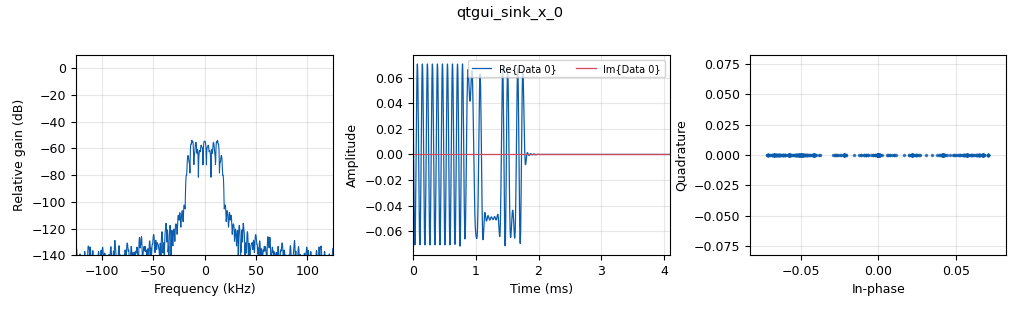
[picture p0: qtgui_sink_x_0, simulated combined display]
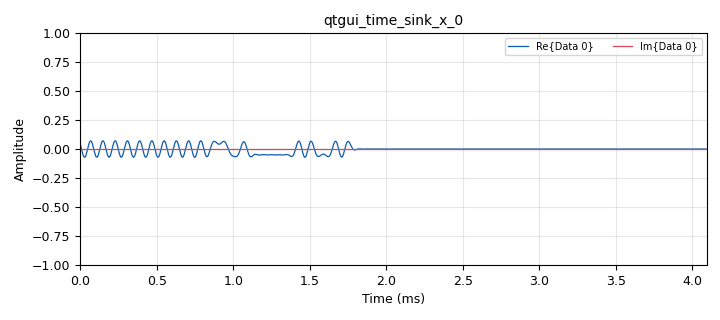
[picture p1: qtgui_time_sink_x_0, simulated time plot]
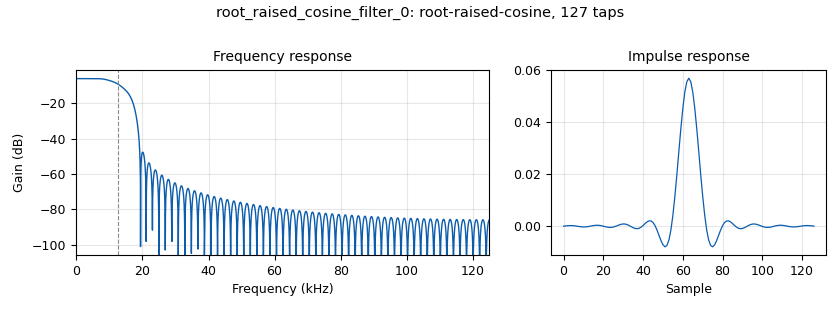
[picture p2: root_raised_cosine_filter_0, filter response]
options:
  parameters:
    generate_options: qt_gui
    id: USRP_TX
    output_language: python
    title: USRP TX
  states: {}

blocks:
- name: carrier_freq
  id: variable_qtgui_range
  parameters:
    label: Carrier Frequency
    start: 905e6
    step: 1e4
    stop: 930e6
    value: 915e6
  states: {}
- name: gain
  id: variable_qtgui_range
  parameters:
    label: TX Gain
    rangeType: int
    start: '0'
    step: '1'
    stop: '76'
    value: '50'
  states: {}
- name: rrc_ntaps
  id: variable
  parameters:
    value: 2**7-1
  states: {}
- name: samp_rate
  id: variable
  parameters:
    value: int(500e3/2)
  states: {}
- name: sps
  id: variable
  parameters:
    value: '10'
  states: {}
- name: tx_device_addr
  id: variable
  parameters:
    value: '"serial=31909E4"'
  states: {state: disabled}
- name: tx_device_addr
  id: variable
  parameters:
    value: '"serial=30BC4A2"'
  states: {state: disabled}
- name: tx_device_addr
  id: variable
  parameters:
    value: '"serial=30F5982"'
  states: {}
- name: blocks_file_sink_0
  id: blocks_file_sink
  parameters:
    file: /home/user/Documents/locchanan-senior/BPSK/tx_modulated.iq
    type: complex
    unbuffered: 'True'
  states: {state: disabled}
- name: blocks_file_sink_1
  id: blocks_file_sink
  parameters:
    file: tx_bytes
    type: complex
  states: {state: disabled}
- name: blocks_message_debug_0
  id: blocks_message_debug
  parameters: {}
  states: {}
- name: blocks_message_strobe_0
  id: blocks_message_strobe
  parameters:
    msg: pmt.intern("TEST")
    period: '2000'
  states: {}
- name: blocks_repeat_0
  id: blocks_repeat
  parameters:
    interp: sps
    type: byte
  states: {state: disabled}
- name: blocks_tag_debug_0
  id: blocks_tag_debug
  parameters:
    filter: '"tx_pkt_len"'
    name: Debug
    type: complex
  states: {}
- name: blocks_tagged_stream_multiply_length_0
  id: blocks_tagged_stream_multiply_length
  parameters:
    c: sps
    lengthtagname: '"tx_pkt_len"'
    type: complex
  states: {}
- name: digital_burst_shaper_xx_0
  id: digital_burst_shaper_xx
  parameters:
    insert_phasing: 'False'
    length_tag_name: '"packet_len"'
    post_padding: '0'
    pre_padding: '0'
    type: float
    window: ([])
  states: {state: disabled}
- name: epy_block_1
  id: epy_block
  parameters:
    _source_code: |
      """
      Embedded Python Blocks:

      Each time this file is saved, GRC will instantiate the first class it finds
      to get ports and parameters of your block. The arguments to __init__  will
      be the parameters. All of them are required to have default values!
      """

      import numpy as np
      from gnuradio import gr


      class blk(gr.sync_block):  # other base classes are basic_block, decim_block, interp_block
          """Embedded Python Block example - a simple multiply const"""

          def __init__(self, symbol_dict=[-1+0j, 1+0j]):  # only default arguments here
              """arguments to this function show up as parameters in GRC"""
              gr.sync_block.__init__(
                  self,
                  name='PSK Mod',   # will show up in GRC
                  in_sig=[np.uint8],
                  out_sig=[np.complex64]
              )
              # if an attribute with the same name as a parameter is found,
              # a callback is registered (properties work, too).
              self.symbol_dict = symbol_dict #np.array(symbol_map)

          def work(self, input_items, output_items):
              """example: multiply with constant"""
              for i,bit in enumerate(input_items[0]):
                  output_items[0][i] = self.symbol_dict[bit]
              return len(output_items[0])
    symbol_dict: '{0:-1+0j, 1:1+0j, 0xFF:0}'
  states: {}
- name: epy_block_2
  id: epy_block
  parameters:
    _source_code: |
      """
      This python block creates a PMT that contains a packet. The packet follows the following format:

      1. Preamble: Alternating 0s and 1s. The length of the preamble is determined by the Preamble_Len parameter
      2. Syncword: The bit string that the correlator is supposed to detect
      3. Len: A 1 byte field that describes the length of the payload
      4. Payload: The payload/message to be transmitted
      5. Pad: Amount to pad the message. This is to prevent the RRC from truncating the message. Pad value will be 0xFF. The modulator can decide how to handle this.

      | Preamble | Sync Word | Len | Payload | Pad |

      """

      import numpy as np
      from gnuradio import gr
      import pmt
      import queue


      class blk(gr.sync_block):  # other base classes are basic_block, decim_block, interp_block
          """Embedded Python Block example - a simple multiply const"""

          def __init__(self, preamble_len=12, syncword="1110010", pad=127):  # only default arguments here
              """arguments to this function show up as parameters in GRC"""
              gr.sync_block.__init__(
                  self,
                  name='Packetize',   # will show up in GRC
                  in_sig= None,
                  out_sig= None
              )
              
              #Store Variables
              self.preamble = np.array(int((preamble_len+1)/2)*[1,0], dtype=np.uint8)[:preamble_len]
              self.syncword = np.array(list(syncword), dtype=np.uint8)
              self.pad_amount = int(pad)
              
              #Make values are binary
              if np.any(self.syncword > 1):
              	print(np.any(self.syncword > 1))
              	raise ValueError("Inavlid Syncword")
              
              # Register port and handler
              self.message_port_register_in(pmt.intern('MSG_In'))
              self.message_port_register_out(pmt.intern('Unpacked Packet'))
              self.set_msg_handler(pmt.intern('MSG_In'), self.handle_msg)
              
              
          def handle_msg(self, msg):
              #Get msg
              payload = pmt.to_python(msg)
              
              payload = np.fromstring(payload[1], dtype=np.uint8)
              payload_len = np.array([len(payload)], dtype=np.uint8)
              
              packet = np.concatenate((self.preamble, self.syncword, np.unpackbits(np.concatenate((payload_len, payload)), bitorder='big'), np.full(self.pad_amount, 0xFF)))
              

           
              #Create PMT u8vector
              pmt_out = pmt.cons(pmt.PMT_NIL, pmt.init_u8vector(len(packet), packet))
              self.message_port_pub(pmt.intern('Unpacked Packet'), pmt_out)
    pad: (rrc_ntaps+1)/2
    preamble_len: '56'
    syncword: '"1110010"'
  states: {}
- name: pdu_pdu_to_tagged_stream_0
  id: pdu_pdu_to_tagged_stream
  parameters:
    tag: '"tx_pkt_len"'
    type: byte
  states: {}
- name: qtgui_edit_box_msg_0
  id: qtgui_edit_box_msg
  parameters:
    key: Payload
    label: Payload
    type: string
    value: '"abcdefghijklmnopqrstuvwxyzABCDEFGHIJKLMNOPQRSTUVWXYZ"'
  states: {}
- name: qtgui_sink_x_0
  id: qtgui_sink_x
  parameters:
    bw: samp_rate
    fc: '0'
    fftsize: '1024'
    type: complex
  states: {}
- name: qtgui_time_sink_x_0
  id: qtgui_time_sink_x
  parameters:
    size: '1024'
    srate: samp_rate
    type: complex
  states: {}
- name: root_raised_cosine_filter_0
  id: root_raised_cosine_filter
  parameters:
    alpha: '0.51'
    gain: '.5'
    interp: sps
    ntaps: rrc_ntaps
    samp_rate: samp_rate
    sym_rate: samp_rate/sps
    type: interp_fir_filter_ccf
  states: {}
- name: uhd_usrp_sink_0_0
  id: uhd_usrp_sink
  parameters:
    ant0: '"TX/RX"'
    center_freq0: carrier_freq
    dev_addr: tx_device_addr
    gain0: gain
    len_tag_name: tx_pkt_len
    samp_rate: samp_rate
    sync: none
    type: fc32
  states: {}
- name: virtual_sink_0
  id: virtual_sink
  parameters:
    stream_id: bytes
  states: {}
- name: virtual_source_0
  id: virtual_source
  parameters:
    stream_id: bytes
  states: {}

connections:
- [blocks_message_strobe_0, strobe, blocks_message_debug_0, print]
- [blocks_message_strobe_0, strobe, epy_block_2, MSG_In]
- [blocks_repeat_0, '0', epy_block_1, '0']
- [blocks_tagged_stream_multiply_length_0, '0', blocks_tag_debug_0, '0']
- [blocks_tagged_stream_multiply_length_0, '0', qtgui_sink_x_0, '0']
- [blocks_tagged_stream_multiply_length_0, '0', qtgui_time_sink_x_0, '0']
- [blocks_tagged_stream_multiply_length_0, '0', uhd_usrp_sink_0_0, '0']
- [epy_block_1, '0', root_raised_cosine_filter_0, '0']
- [epy_block_2, Unpacked Packet, pdu_pdu_to_tagged_stream_0, pdus]
- [pdu_pdu_to_tagged_stream_0, '0', virtual_sink_0, '0']
- [qtgui_edit_box_msg_0, msg, blocks_message_strobe_0, set_msg]
- [root_raised_cosine_filter_0, '0', blocks_file_sink_1, '0']
- [root_raised_cosine_filter_0, '0', blocks_tagged_stream_multiply_length_0, '0']
- [virtual_source_0, '0', blocks_repeat_0, '0']
- [virtual_source_0, '0', epy_block_1, '0']

metadata:
  file_format: 1
  grc_version: 3.10.7.0
